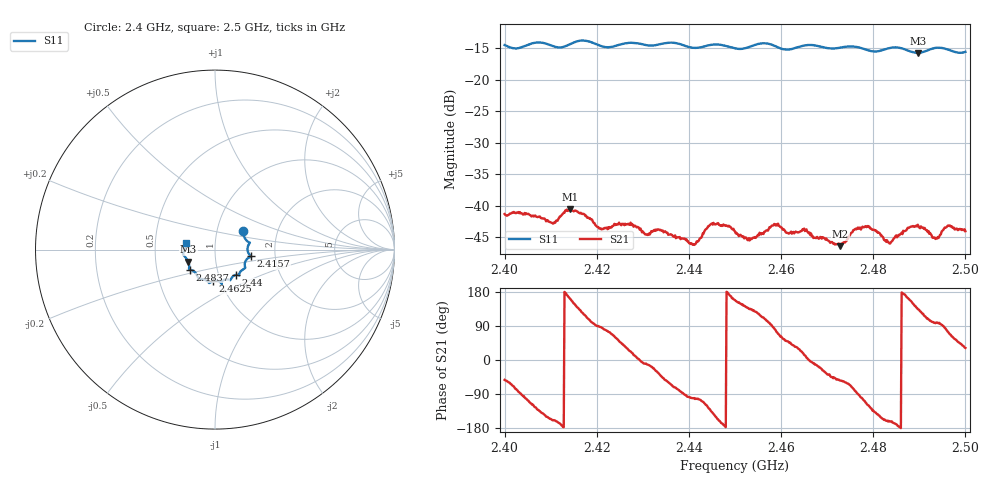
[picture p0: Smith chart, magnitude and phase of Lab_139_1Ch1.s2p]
# Hz S RI R 50
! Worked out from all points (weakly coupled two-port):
!   601 points, 2.4 GHz to 2.5 GHz, reference 50 ohm
!   highest |S21| = -40.62 dB at 2.4142 GHz (marker M1); lowest = -46.5 dB at 2.4728 GHz (marker M2)
!   lowest |S11| = -15.7 dB at 2.4897 GHz (marker M3), VSWR 1.39, Z = 36.7 - j5 ohm
!   |S11| at or under -10 dB: start of sweep to end of sweep
!   S12 and S22 are empty: the file has one direction only
!   S11 on the Smith chart (normalised r, x): 2.4 GHz: 1.33, +0.29; 2.4157 GHz: 1.49, -0.11; 2.44 GHz: 1.21, -0.35; 2.4625 GHz: 0.92, -0.34; 2.4837 GHz: 0.74, -0.17; 2.5 GHz: 0.72, +0.05
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2.4e9  0.1566 0.1058  0.00523 -0.00679  0 0  0 0
2.4105e9  0.184 0.0201  -0.00673 -0.00255  0 0  0 0
2.414167e9  0.1899 -0.0256  -0.00885 0.00289  0 0  0 0
2.415667e9  0.1986 -0.0366  -0.00691 0.00579  0 0  0 0
2.416667e9  0.2014 -0.04  -0.00518 0.00693  0 0  0 0
2.421e9  0.1773 -0.0536  0.00043 0.00645  0 0  0 0
2.433333e9  0.1361 -0.1333  0.00537 -0.00361  0 0  0 0
2.44e9  0.1161 -0.1404  -0.000678 -0.005  0 0  0 0
2.445e9  0.0859 -0.1693  -0.0053 -0.00489  0 0  0 0
2.45e9  0.0638 -0.1661  -0.00577 0.00234  0 0  0 0
2.453167e9  0.0393 -0.1788  -0.00369 0.00379  0 0  0 0
2.458833e9  0.0301 -0.1821  0.0014 0.0068  0 0  0 0
2.4625e9  -0.00995 -0.1763  0.00472 0.00386  0 0  0 0
2.466667e9  -0.0331 -0.1861  0.00567 -0.000582  0 0  0 0
2.472833e9  -0.0759 -0.1634  0.00279 -0.00385  0 0  0 0
2.478667e9  -0.1025 -0.1387  -0.00313 -0.00604  0 0  0 0
2.483333e9  -0.1382 -0.1123  -0.00481 -0.00171  0 0  0 0
2.483667e9  -0.1402 -0.1119  -0.00474 -0.00156  0 0  0 0
2.489667e9  -0.1496 -0.0663  -0.00492 0.00505  0 0  0 0
2.493333e9  -0.1765 -0.0292  -0.000794 0.00552  0 0  0 0
2.496167e9  -0.1737 -0.0143  0.00182 0.00668  0 0  0 0
2.5e9  -0.1629 0.0362  0.00531 0.0033  0 0  0 0
